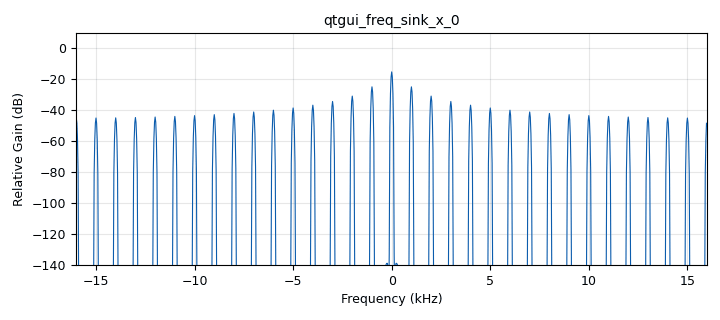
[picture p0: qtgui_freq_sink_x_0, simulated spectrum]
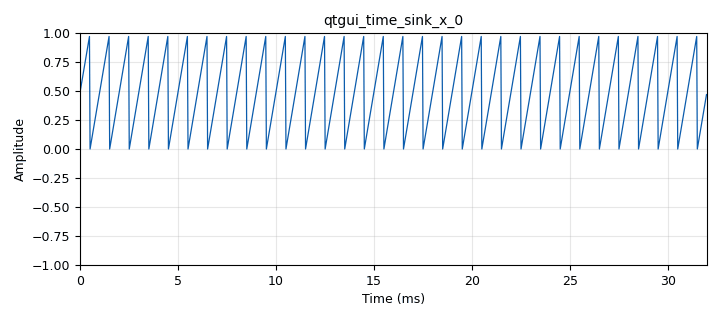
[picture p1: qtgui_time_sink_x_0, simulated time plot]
options:
  parameters:
    generate_options: qt_gui
    id: Lab3_1_1
    output_language: python
    title: Not titled yet
  states: {}

blocks:
- name: A
  id: variable_qtgui_range
  parameters:
    label: Amplitud
    start: '0'
    step: '1'
    stop: '10'
    value: '1'
  states: {}
- name: samp_rate
  id: variable
  parameters:
    value: '32000'
  states: {}
- name: CalculoPotenciaComunicaciones_0
  id: CalculoPotenciaComunicaciones
  parameters:
    I_vect: '1024'
  states: {}
- name: analog_sig_source_x_0
  id: analog_sig_source_x
  parameters:
    amp: A
    freq: '1000'
    offset: '0'
    phase: '0'
    samp_rate: samp_rate
    type: float
    waveform: analog.GR_SAW_WAVE
  states: {}
- name: blocks_throttle_0
  id: blocks_throttle
  parameters:
    samples_per_second: samp_rate
    type: float
  states: {}
- name: qtgui_freq_sink_x_0
  id: qtgui_freq_sink_x
  parameters:
    bw: samp_rate
    fc: '0'
    fftsize: '1024'
    type: float
  states: {}
- name: qtgui_time_sink_x_0
  id: qtgui_time_sink_x
  parameters:
    size: '1024'
    srate: samp_rate
    type: float
  states: {}

connections:
- [analog_sig_source_x_0, '0', blocks_throttle_0, '0']
- [blocks_throttle_0, '0', CalculoPotenciaComunicaciones_0, '0']
- [blocks_throttle_0, '0', qtgui_freq_sink_x_0, '0']
- [blocks_throttle_0, '0', qtgui_time_sink_x_0, '0']

metadata:
  file_format: 1
  grc_version: 3.10.5.1
